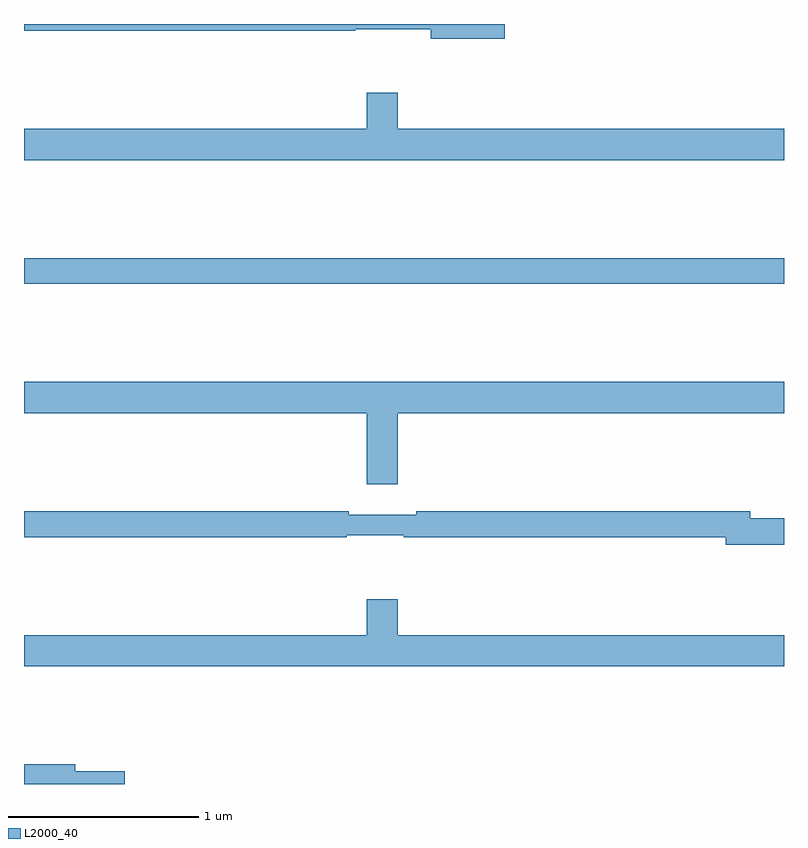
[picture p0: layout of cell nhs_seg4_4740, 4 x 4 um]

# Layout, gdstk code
import gdstk
lib = gdstk.Library(unit=1e-6, precision=1e-09)
def R(c, l, rs):  # rectangles x0, y0, x1, y1
    for r in rs: c.add(gdstk.rectangle(r[:2], r[2:], *l))
def P(c, l, *ps):  # polygons
    for p in ps: c.add(gdstk.Polygon(p, *l))
L2000_40 = (2000, 40)

nhs_seg4_4740 = lib.new_cell('nhs_seg4_4740')
R(nhs_seg4_4740, L2000_40, [(367,765.532,371,765.668)])
P(nhs_seg4_4740, L2000_40, [(369.529,766.9),(367,766.9),(367,766.864),(368.744,766.864),(368.744,766.872),(369.14,766.872),(369.14,766.822),(369.529,766.822)],
  [(371,766.348),(368.968,766.348),(368.968,766.537),(368.804,766.537),(368.804,766.348),(367,766.348),(367,766.184),(371,766.184)],
  [(368.968,764.852),(371,764.852),(371,765.016),(367,765.016),(367,764.852),(368.804,764.852),(368.804,764.478),(368.968,764.478)],
  [(371,764.3),(370.822,764.3),(370.822,764.336),(369.064,764.336),(369.064,764.317),(368.708,764.317),(368.708,764.336),(367,764.336),(367,764.2),(368.698,764.2),(368.698,764.208),(368.998,764.208),(368.998,764.2),(370.694,764.2),(370.694,764.158),(371,764.158)],
  [(371,763.684),(368.968,763.684),(368.968,763.873),(368.804,763.873),(368.804,763.684),(367,763.684),(367,763.52),(371,763.52)],
  [(367.531,762.968),(367.27,762.968),(367.27,763.004),(367,763.004),(367,762.9),(367.531,762.9)])

lib.write_gds('nhs_seg4_4740.gds')
